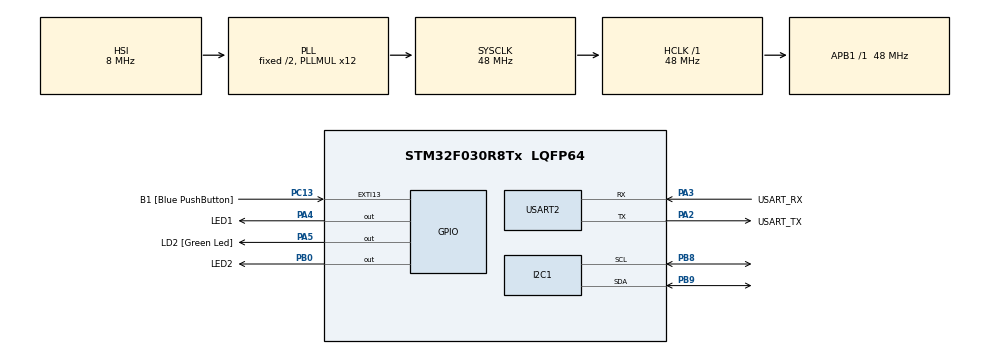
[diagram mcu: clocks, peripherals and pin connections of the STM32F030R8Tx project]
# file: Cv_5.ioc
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Dma.Request0=USART2_RX
Dma.USART2_RX.0.Direction=DMA_PERIPH_TO_MEMORY
Dma.USART2_RX.0.Instance=DMA1_Channel5
Dma.USART2_RX.0.MemDataAlignment=DMA_MDATAALIGN_BYTE
Dma.USART2_RX.0.MemInc=DMA_MINC_ENABLE
Dma.USART2_RX.0.Mode=DMA_CIRCULAR
Dma.USART2_RX.0.PeriphDataAlignment=DMA_PDATAALIGN_BYTE
Dma.USART2_RX.0.PeriphInc=DMA_PINC_DISABLE
Dma.USART2_RX.0.Priority=DMA_PRIORITY_LOW
Mcu.Family=STM32F0
Mcu.Name=STM32F030R8Tx
Mcu.Package=LQFP64
NVIC.DMA1_Channel4_5_IRQn=true\:0\:0\:false\:false\:true\:false\:true
PA13.GPIO_Label=TMS
PA13.Mode=Serial_Wire
PA13.Signal=SYS_SWDIO
PA14.GPIO_Label=TCK
PA14.Mode=Serial_Wire
PA14.Signal=SYS_SWCLK
PA2.GPIO_Label=USART_TX
PA2.GPIO_Mode=GPIO_MODE_AF_PP
PA2.GPIO_PuPd=GPIO_NOPULL
PA2.GPIO_Speed=GPIO_SPEED_FREQ_LOW
PA2.Mode=Asynchronous
PA2.Signal=USART2_TX
PA3.GPIO_Label=USART_RX
PA3.GPIO_Mode=GPIO_MODE_AF_PP
PA3.GPIO_PuPd=GPIO_NOPULL
PA3.GPIO_Speed=GPIO_SPEED_FREQ_LOW
PA3.Mode=Asynchronous
PA3.Signal=USART2_RX
PA4.GPIO_Label=LED1
PA4.Signal=GPIO_Output
PA5.GPIO_Label=LD2 [Green Led]
PA5.GPIO_Mode=GPIO_MODE_OUTPUT_PP
PA5.GPIO_PuPd=GPIO_NOPULL
PA5.GPIO_Speed=GPIO_SPEED_FREQ_LOW
PA5.Signal=GPIO_Output
PB0.GPIO_Label=LED2
PB0.Signal=GPIO_Output
PB8.Mode=I2C
PB8.Signal=I2C1_SCL
PB9.Mode=I2C
PB9.Signal=I2C1_SDA
PC13.GPIO_Label=B1 [Blue PushButton]
PC13.GPIO_ModeDefaultEXTI=GPIO_MODE_IT_FALLING
PC13.Signal=GPXTI13
PC14-OSC32_IN.Mode=LSE-External-Oscillator
PC14-OSC32_IN.Signal=RCC_OSC32_IN
PC15-OSC32_OUT.Mode=LSE-External-Oscillator
PC15-OSC32_OUT.Signal=RCC_OSC32_OUT
PF0-OSC_IN.Mode=HSE-External-Clock-Source
PF0-OSC_IN.Signal=RCC_OSC_IN
PF1-OSC_OUT.Signal=RCC_OSC_OUT
ProjectManager.HeapSize=0x200
ProjectManager.StackSize=0x400
ProjectManager.TargetToolchain=STM32CubeIDE
RCC.AHBFreq_Value=48000000
RCC.APB1Freq_Value=48000000
RCC.APB1TimFreq_Value=48000000
RCC.HCLKFreq_Value=48000000
RCC.PLLMUL=RCC_PLL_MUL12
RCC.SYSCLKFreq_VALUE=48000000
RCC.SYSCLKSource=RCC_SYSCLKSOURCE_PLLCLK
USART2.VirtualMode-Asynchronous=VM_ASYNC
board=NUCLEO-F030R8

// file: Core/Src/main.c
/* USER CODE BEGIN Header */
/**
  ******************************************************************************
  * @file           : main.c
  * @brief          : Main program body
  ******************************************************************************
  * @attention
  *
  * <h2><center>&copy; Copyright (c) 2021 STMicroelectronics.
  * All rights reserved.</center></h2>
  *
  * This software component is licensed by ST under BSD 3-Clause license,
  * the "License"; You may not use this file except in compliance with the
  * License. You may obtain a copy of the License at:
  *                        opensource.org/licenses/BSD-3-Clause
  *
  ******************************************************************************
  */
/* USER CODE END Header */
#include "main.h"

/* USER CODE BEGIN Includes */
#include <stdio.h>
#include <string.h>
#include <stdlib.h>
/* USER CODE END Includes */

/* USER CODE BEGIN PTD */
#define EEPROM_ADDR 0xA0
#define RX_BUFFER_LEN 64
#define CMD_BUFFER_LEN 256
#define uart_rx_write_ptr (RX_BUFFER_LEN - hdma_usart2_rx.Instance->CNDTR)
/* USER CODE END PTD */

I2C_HandleTypeDef hi2c1;

UART_HandleTypeDef huart2;
DMA_HandleTypeDef hdma_usart2_rx;

void SystemClock_Config(void);
static void MX_GPIO_Init(void);
static void MX_DMA_Init(void);
static void MX_USART2_UART_Init(void);
static void MX_I2C1_Init(void);

/* USER CODE BEGIN 0 */
int _write(int file, char const *buf, int n){
	/* stdout redirection to UART2 */
	HAL_UART_Transmit(&huart2, (uint8_t*)(buf), n, HAL_MAX_DELAY);
	return n;
}
void uart_process_command(char *cmd){
	char *token;
	uint8_t value;
	token = strtok(cmd, " ");
	if (strcasecmp(token, "HELLO") == 0){
		printf("Komunikace OK! \n");
	}
	else if (strcasecmp(token, "LED1") == 0) {
		token = strtok(NULL, " ");
		if (strcasecmp(token, "ON") == 0){
			printf("LED 1 ON \n");
			HAL_GPIO_WritePin(LED1_GPIO_Port, LED1_Pin, 1);
		}
		else if (strcasecmp(token, "OFF") == 0){
			printf("OK\n");
			HAL_GPIO_WritePin(LED1_GPIO_Port, LED1_Pin, 0);
		}
	}
	else if (strcasecmp(token, "LED2") == 0){
		token = strtok(NULL, " ");
		if (strcasecmp(token, "ON") == 0){
			printf("LED 2 ON \n");
			HAL_GPIO_WritePin(LED2_GPIO_Port, LED2_Pin, 1);

		}
		else if (strcasecmp(token, "OFF") == 0){
			printf("OK \n");
			HAL_GPIO_WritePin(LED2_GPIO_Port, LED2_Pin, 0);
		}
	}
	else if (strcasecmp(token, "STATUS") == 0){
		char *led_1 = HAL_GPIO_ReadPin(LED1_GPIO_Port, LED1_Pin)? "ON" : "OFF";  //Tenary condition
		char *led_2 = HAL_GPIO_ReadPin(LED2_GPIO_Port, LED2_Pin)? "ON" : "OFF";  //Tenary condition
		printf("Led 1 is %s and led 2 is %s \n", led_1, led_2);
	}
	else if (strcasecmp(token, "READ") == 0){
		token = strtok(NULL, " ");
		HAL_I2C_Mem_Read(&hi2c1, EEPROM_ADDR, atoi(token), I2C_MEMADD_SIZE_16BIT, &value, 1, 1000);
		printf("Adresa %o = %x \n", value, value);
	}
	else if (strcasecmp(token, "WRITE") == 0){
		int addr = atoi(strtok(NULL, " "));
		value = (uint8_t)atoi(strtok(NULL, " "));
		HAL_I2C_Mem_Write(&hi2c1, EEPROM_ADDR, addr, I2C_MEMADD_SIZE_16BIT, &value, 1, 1000);
		while (HAL_I2C_IsDeviceReady(&hi2c1, EEPROM_ADDR, 300, 1000) == HAL_TIMEOUT) {}
		printf("OK! \n");
	}
	else if(strcasecmp(token, "DUMP") == 0){
		uint8_t mem[16];
		HAL_I2C_Mem_Read(&hi2c1, EEPROM_ADDR, 0, I2C_MEMADD_SIZE_16BIT, mem, sizeof(mem), 1000);
		for (uint8_t i; i < 16; i++){
			printf("%02x ", mem[i]);
			if (i % 8 == 7){
				printf("\n");
			}
		}
	}

}
static void uart_byte_available(uint8_t c){
	static uint16_t cnt;
	static char data[CMD_BUFFER_LEN];
	if (cnt < CMD_BUFFER_LEN && c >= 32 && c <= 126) data[cnt++] = c;
	if ((c == '\n' || c == '\r') && cnt > 0) {
		data[cnt] = '\0';
		uart_process_command(data);
		cnt = 0;
	}
}
/* USER CODE END 0 */

int main(void)
{
  /* USER CODE BEGIN 1 */
  static uint8_t uart_rx_buf[RX_BUFFER_LEN];
  static volatile uint16_t uart_rx_read_ptr = 0;
  /* USER CODE END 1 */

  /* MCU Configuration--------------------------------------------------------*/

  /* Reset of all peripherals, Initializes the Flash interface and the Systick. */
  HAL_Init();

  /* Configure the system clock */
  SystemClock_Config();

  /* Initialize all configured peripherals */
  MX_GPIO_Init();
  MX_DMA_Init();
  MX_USART2_UART_Init();
  MX_I2C1_Init();
  /* USER CODE BEGIN 2 */
  HAL_UART_Receive_DMA(&huart2, uart_rx_buf, RX_BUFFER_LEN);
  /* USER CODE END 2 */

  /* Infinite loop */
  /* USER CODE BEGIN WHILE */
  while (1)
  {
	  while (uart_rx_read_ptr != uart_rx_write_ptr) {
	   uint8_t b = uart_rx_buf[uart_rx_read_ptr];
	   if (++uart_rx_read_ptr >= RX_BUFFER_LEN) uart_rx_read_ptr = 0; // increase read pointer
	   uart_byte_available(b); // process every received byte with the RX state machine
	  }
    /* USER CODE END WHILE */

  }
}

void SystemClock_Config(void)
{
  RCC_OscInitTypeDef RCC_OscInitStruct = {0};
  RCC_ClkInitTypeDef RCC_ClkInitStruct = {0};
  RCC_PeriphCLKInitTypeDef PeriphClkInit = {0};

  /** Initializes the RCC Oscillators according to the specified parameters
  * in the RCC_OscInitTypeDef structure.
  */
  RCC_OscInitStruct.OscillatorType = RCC_OSCILLATORTYPE_HSI;
  RCC_OscInitStruct.HSIState = RCC_HSI_ON;
  RCC_OscInitStruct.HSICalibrationValue = RCC_HSICALIBRATION_DEFAULT;
  RCC_OscInitStruct.PLL.PLLState = RCC_PLL_ON;
  RCC_OscInitStruct.PLL.PLLSource = RCC_PLLSOURCE_HSI;
  RCC_OscInitStruct.PLL.PLLMUL = RCC_PLL_MUL12;
  RCC_OscInitStruct.PLL.PREDIV = RCC_PREDIV_DIV1;
  if (HAL_RCC_OscConfig(&RCC_OscInitStruct) != HAL_OK)
  {
    Error_Handler();
  }
  /** Initializes the CPU, AHB and APB buses clocks
  */
  RCC_ClkInitStruct.ClockType = RCC_CLOCKTYPE_HCLK|RCC_CLOCKTYPE_SYSCLK
                              |RCC_CLOCKTYPE_PCLK1;
  RCC_ClkInitStruct.SYSCLKSource = RCC_SYSCLKSOURCE_PLLCLK;
  RCC_ClkInitStruct.AHBCLKDivider = RCC_SYSCLK_DIV1;
  RCC_ClkInitStruct.APB1CLKDivider = RCC_HCLK_DIV1;

  if (HAL_RCC_ClockConfig(&RCC_ClkInitStruct, FLASH_LATENCY_1) != HAL_OK)
  {
    Error_Handler();
  }
  PeriphClkInit.PeriphClockSelection = RCC_PERIPHCLK_I2C1;
  PeriphClkInit.I2c1ClockSelection = RCC_I2C1CLKSOURCE_HSI;
  if (HAL_RCCEx_PeriphCLKConfig(&PeriphClkInit) != HAL_OK)
  {
    Error_Handler();
  }
}

static void MX_I2C1_Init(void)
{

  hi2c1.Instance = I2C1;
  hi2c1.Init.Timing = 0x2000090E;
  hi2c1.Init.OwnAddress1 = 0;
  hi2c1.Init.AddressingMode = I2C_ADDRESSINGMODE_7BIT;
  hi2c1.Init.DualAddressMode = I2C_DUALADDRESS_DISABLE;
  hi2c1.Init.OwnAddress2 = 0;
  hi2c1.Init.OwnAddress2Masks = I2C_OA2_NOMASK;
  hi2c1.Init.GeneralCallMode = I2C_GENERALCALL_DISABLE;
  hi2c1.Init.NoStretchMode = I2C_NOSTRETCH_DISABLE;
  if (HAL_I2C_Init(&hi2c1) != HAL_OK)
  {
    Error_Handler();
  }
  /** Configure Analogue filter
  */
  if (HAL_I2CEx_ConfigAnalogFilter(&hi2c1, I2C_ANALOGFILTER_ENABLE) != HAL_OK)
  {
    Error_Handler();
  }
  /** Configure Digital filter
  */
  if (HAL_I2CEx_ConfigDigitalFilter(&hi2c1, 0) != HAL_OK)
  {
    Error_Handler();
  }

}

static void MX_USART2_UART_Init(void)
{

  huart2.Instance = USART2;
  huart2.Init.BaudRate = 38400;
  huart2.Init.WordLength = UART_WORDLENGTH_8B;
  huart2.Init.StopBits = UART_STOPBITS_1;
  huart2.Init.Parity = UART_PARITY_NONE;
  huart2.Init.Mode = UART_MODE_TX_RX;
  huart2.Init.HwFlowCtl = UART_HWCONTROL_NONE;
  huart2.Init.OverSampling = UART_OVERSAMPLING_16;
  huart2.Init.OneBitSampling = UART_ONE_BIT_SAMPLE_DISABLE;
  huart2.AdvancedInit.AdvFeatureInit = UART_ADVFEATURE_NO_INIT;
  if (HAL_UART_Init(&huart2) != HAL_OK)
  {
    Error_Handler();
  }

}

static void MX_DMA_Init(void)
{

  /* DMA controller clock enable */
  __HAL_RCC_DMA1_CLK_ENABLE();

  /* DMA interrupt init */
  /* DMA1_Channel4_5_IRQn interrupt configuration */
  HAL_NVIC_SetPriority(DMA1_Channel4_5_IRQn, 0, 0);
  HAL_NVIC_EnableIRQ(DMA1_Channel4_5_IRQn);

}

static void MX_GPIO_Init(void)
{
  GPIO_InitTypeDef GPIO_InitStruct = {0};

  /* GPIO Ports Clock Enable */
  __HAL_RCC_GPIOC_CLK_ENABLE();
  __HAL_RCC_GPIOF_CLK_ENABLE();
  __HAL_RCC_GPIOA_CLK_ENABLE();
  __HAL_RCC_GPIOB_CLK_ENABLE();

  /*Configure GPIO pin Output Level */
  HAL_GPIO_WritePin(GPIOA, LED1_Pin|LD2_Pin, GPIO_PIN_RESET);

  /*Configure GPIO pin Output Level */
  HAL_GPIO_WritePin(LED2_GPIO_Port, LED2_Pin, GPIO_PIN_RESET);

  /*Configure GPIO pin : B1_Pin */
  GPIO_InitStruct.Pin = B1_Pin;
  GPIO_InitStruct.Mode = GPIO_MODE_IT_FALLING;
  GPIO_InitStruct.Pull = GPIO_NOPULL;
  HAL_GPIO_Init(B1_GPIO_Port, &GPIO_InitStruct);

  /*Configure GPIO pins : LED1_Pin LD2_Pin */
  GPIO_InitStruct.Pin = LED1_Pin|LD2_Pin;
  GPIO_InitStruct.Mode = GPIO_MODE_OUTPUT_PP;
  GPIO_InitStruct.Pull = GPIO_NOPULL;
  GPIO_InitStruct.Speed = GPIO_SPEED_FREQ_LOW;
  HAL_GPIO_Init(GPIOA, &GPIO_InitStruct);

  /*Configure GPIO pin : LED2_Pin */
  GPIO_InitStruct.Pin = LED2_Pin;
  GPIO_InitStruct.Mode = GPIO_MODE_OUTPUT_PP;
  GPIO_InitStruct.Pull = GPIO_NOPULL;
  GPIO_InitStruct.Speed = GPIO_SPEED_FREQ_LOW;
  HAL_GPIO_Init(LED2_GPIO_Port, &GPIO_InitStruct);

}

void Error_Handler(void)
{
  __disable_irq();
  while (1)
  {
  }
}

/************************ (C) COPYRIGHT STMicroelectronics *****END OF FILE****/
